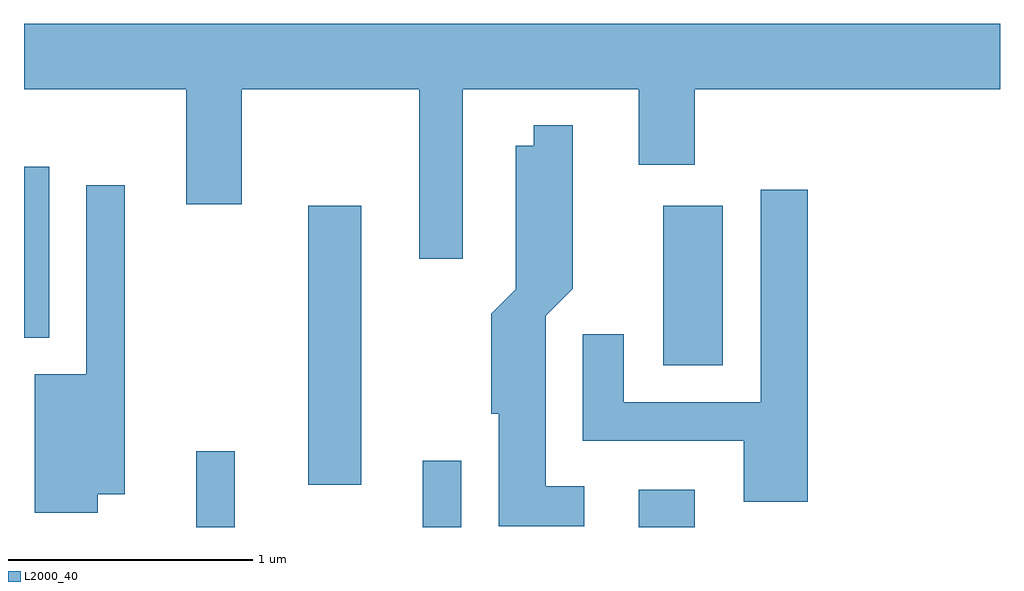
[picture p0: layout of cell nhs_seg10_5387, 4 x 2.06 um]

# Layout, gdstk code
import gdstk
lib = gdstk.Library(unit=1e-6, precision=1e-09)
def R(c, l, rs):  # rectangles x0, y0, x1, y1
    for r in rs: c.add(gdstk.rectangle(r[:2], r[2:], *l))
def P(c, l, *ps):  # polygons
    for p in ps: c.add(gdstk.Polygon(p, *l))
L2000_40 = (2000, 40)

nhs_seg10_5387 = lib.new_cell('nhs_seg10_5387')
R(nhs_seg10_5387, L2000_40, [(344.316,2156.522,344.474,2156.833), (345.246,2156.522,345.404,2156.793), (346.131,2156.522,346.359,2156.674), (344.776,2156.696,344.994,2157.839), (346.231,2157.186,346.474,2157.839), (343.611,2157.298,343.714,2157.999)])
P(nhs_seg10_5387, L2000_40, [(345.409,2158.316),(346.131,2158.316),(346.131,2158.006),(346.359,2158.006),(346.359,2158.316),(347.611,2158.316),(347.611,2158.584),(343.611,2158.584),(343.611,2158.316),(344.276,2158.316),(344.276,2157.846),(344.504,2157.846),(344.504,2158.316),(345.231,2158.316),(345.231,2157.621),(345.409,2157.621)],
  [(345.908,2156.689),(345.749,2156.689),(345.749,2157.389),(345.859,2157.499),(345.859,2158.168),(345.701,2158.168),(345.701,2158.084),(345.626,2158.084),(345.626,2157.497),(345.526,2157.397),(345.526,2156.986),(345.556,2156.986),(345.556,2156.526),(345.908,2156.526)],
  [(343.914,2156.656),(344.024,2156.656),(344.024,2157.923),(343.866,2157.923),(343.866,2157.149),(343.656,2157.149),(343.656,2156.581),(343.914,2156.581)],
  [(346.824,2157.904),(346.631,2157.904),(346.631,2157.034),(346.069,2157.034),(346.069,2157.313),(345.901,2157.313),(345.901,2156.876),(346.561,2156.876),(346.561,2156.626),(346.824,2156.626)])

lib.write_gds('nhs_seg10_5387.gds')
